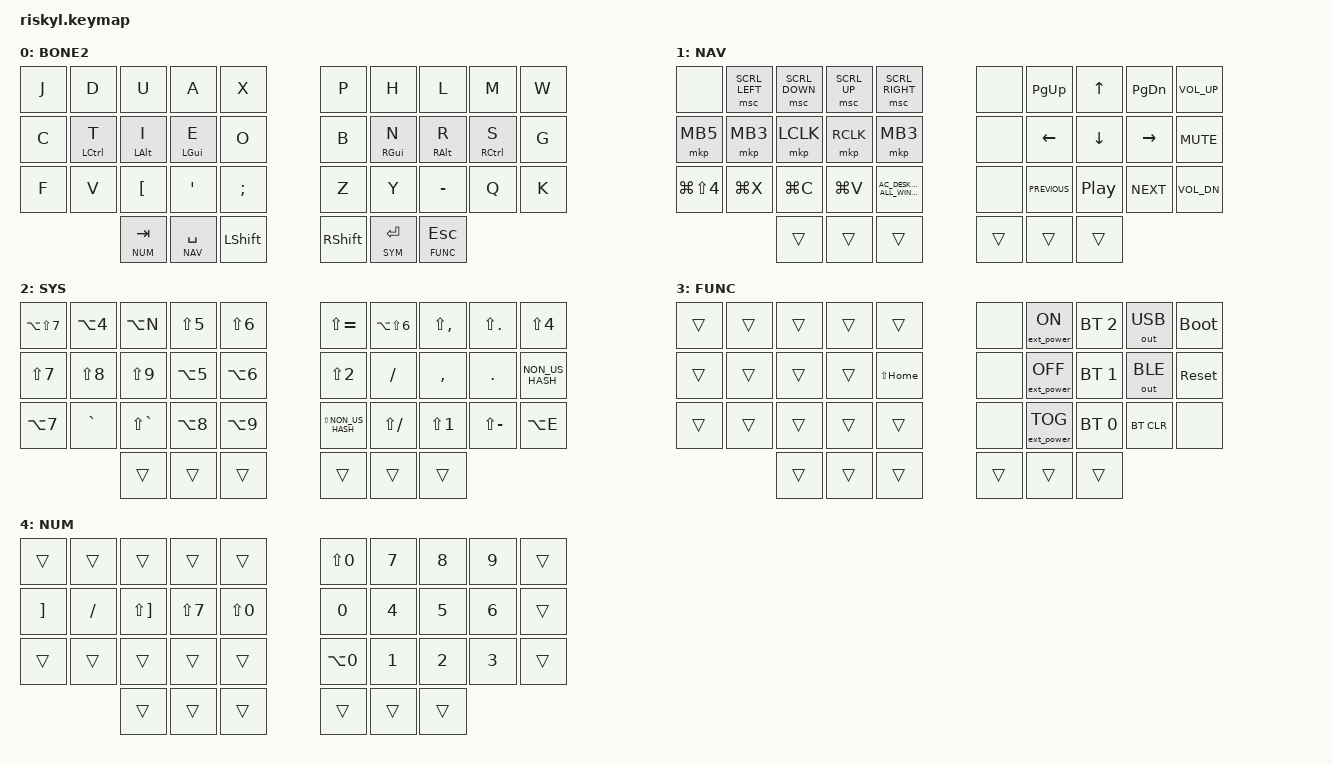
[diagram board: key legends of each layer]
#include <behaviors.dtsi>
#include <dt-bindings/zmk/bt.h>
#include <dt-bindings/zmk/keys.h>
#include <dt-bindings/zmk/outputs.h> 
#include <dt-bindings/zmk/ext_power.h>
#include <dt-bindings/zmk/pointing.h>

#define ZMK_MOUSE_DEFAULT_SCRL_VAL 20    // 10
#include <dt-bindings/zmk/mouse.h>
#include <input/processors.dtsi>

#define DEFAULT 0
#define NAV     1
#define SYM     2
#define FUNC    3
#define NUM     4


&caps_word { continue-list = <UNDERSCORE MINUS>; };
&mmv {
    acceleration-exponent = <1>;      // 1
    time-to-max-speed-ms = <500>;     // 300
    delay-ms = <0>;                   // 0
};
&msc {
    acceleration-exponent = <1>;      // 0
    time-to-max-speed-ms = <50>;      // 300
    delay-ms = <0>;                   // 0
};



/ {
    combos {
        compatible = "zmk,combos";

        delete {
            timeout-ms = <50>;
            key-positions = <21 22>;
            bindings = <&kp DEL>;
        };
        backsspace {
            timeout-ms = <50>;
            key-positions = <27 28>;
            bindings = <&kp BACKSPACE>;
        };
        escape{
            timeout-ms = <50>;
            key-positions = <1 2>;
            bindings = <&kp ESCAPE>;
        };
        enter{
            timeout-ms= <50>;
            key-positions = <22 23>;
            bindings = <&kp ENTER>;
        };
    };
};

/ {
    behaviors {
        hm: homerow_mods {
            compatible = "zmk,behavior-hold-tap";
            #binding-cells = <2>;
            tapping-term-ms = <200>;
            flavor = "tap-preferred";
            bindings = <&kp>, <&kp>;
        };

        hs: homerow_shift {
            compatible = "zmk,behavior-hold-tap";
            #binding-cells = <2>;
            tapping-term-ms = <175>;
            flavor = "balanced";
            bindings = <&kp>, <&kp>;
        };   
    };

    keymap {
        compatible = "zmk,keymap";

        default_layer {
            display-name = "BONE2";
            bindings = <
&kp J         &kp D        &kp U       &kp A        &kp X      &kp P         &kp H        &kp L          &kp M        &kp W
&kp C    &hm LCTL T  &hm LALT I  &hs LGUI E      &kp O               &kp B           &hs RGUI N      &hm RALT R    &hm RCTL S  &kp G
&kp F           &kp V   &kp LBKT    &kp SQT         &kp SEMI            &kp Z           &kp Y           &kp MINUS     &kp Q       &kp K
                           &lt NUM TAB   &lt NAV SPACE  &kp LSHIFT   &kp RSHIFT   &lt SYM ENTER  &lt FUNC  ESCAPE
            >;
        };

        nav_layer {
            display-name = "NAV";
            bindings = <
&none      &msc SCRL_LEFT  &msc SCRL_DOWN  &msc SCRL_UP        &msc SCRL_RIGHT  &none           &kp PAGE_UP     &kp UP_ARROW    &kp PAGE_DOWN  &kp C_VOLUME_UP
&mkp MB5        &mkp MB3        &mkp LCLK           &mkp RCLK   &mkp MB3               &none           &kp LEFT_ARROW  &kp DOWN_ARROW  &kp RIGHT      &kp C_MUTE
 &kp LG(LS(N4)) &kp LG(X)  &kp LG(C) &kp LG(V)        &kp C_AC_DESKTOP_SHOW_ALL_WINDOWS        &none   &kp C_PREVIOUS  &kp C_PLAY_PAUSE    &kp C_NEXT              &kp C_VOL_DN
                                &trans              &trans                &trans  &trans          &trans          &trans
            >;
        };
        sym_layer {
            display-name = "SYS";
            bindings = <
&kp LA(LS(N7))  &kp LA(NUMBER_4)  &kp LA(N)         &kp LS(N5)  &kp LS(NUMBER_6)  &kp LS(EQUAL)        &kp LA(LS(N6))     &kp LS(COMMA)     &kp LS(DOT)    &kp LS(N4)
&kp LS(N7)   &kp LS(N8)        &kp LS(N9)        &kp LA(N5)  &kp LA(NUMBER_6)  &kp LS(NUMBER_2)     &kp SLASH      &kp COMMA         &kp DOT        &kp NON_US_HASH
&kp LA(N7)   &kp GRAVE         &kp LS(GRAVE)  &kp LA(N8)  &kp LA(N9)        &kp LS(NON_US_HASH)  &kp LS(SLASH)  &kp LS(NUMBER_1)  &kp LS(MINUS)  &kp LA(E)
                              &trans            &trans      &trans            &trans               &trans         &trans
            >;
        };

        func_layer {
            display-name = "FUNC";
            bindings = <
&trans             &trans     &trans &trans      &trans  &none &ext_power EP_ON  &bt BT_SEL 2        &out OUT_USB  &bootloader
&trans             &trans     &trans &trans      &kp LS(HOME)    &none &ext_power EP_OFF  &bt BT_SEL 1         &out OUT_BLE  &sys_reset
&trans             &trans     &trans &trans      &trans   &none &ext_power EP_TOG &bt BT_SEL 0      &bt BT_CLR &none
                             &trans        &trans         &trans        &trans           &trans     &trans
            >;
        };

        num_layer {
            display-name = "NUM";
            bindings = <
&trans             &trans     &trans                 &trans      &trans      &kp LS(N0)  &kp N7  &kp N8  &kp N9  &trans
&kp RIGHT_BRACKET  &kp SLASH  &kp LS(RIGHT_BRACKET)  &kp LS(N7)  &kp LS(N0)  &kp N0      &kp N4  &kp N5  &kp N6  &trans
&trans             &trans     &trans                 &trans      &trans  &kp LA(N0)           &kp N1  &kp N2  &kp N3  &trans
                              &trans                 &trans      &trans      &trans      &trans  &trans
            >;
        };
    };

    trackball_listener {
        compatible = "zmk,input-listener";
        device = <&trackball_split>;
        input-processors = <&zip_temp_layer DEFAULT 1000>;

        snipe {
            layers = <NAV>;
            input-processors = <&zip_xy_scaler 1 4>;
        };

        scroll {
            layers = <NUM>;
            input-processors = <&zip_xy_scaler 1 40>, <&zip_xy_to_scroll_mapper>;//, <&zip_scroll_transform (INPUT_TRANSFORM_Y_INVERT)>;
        };
    };
};

